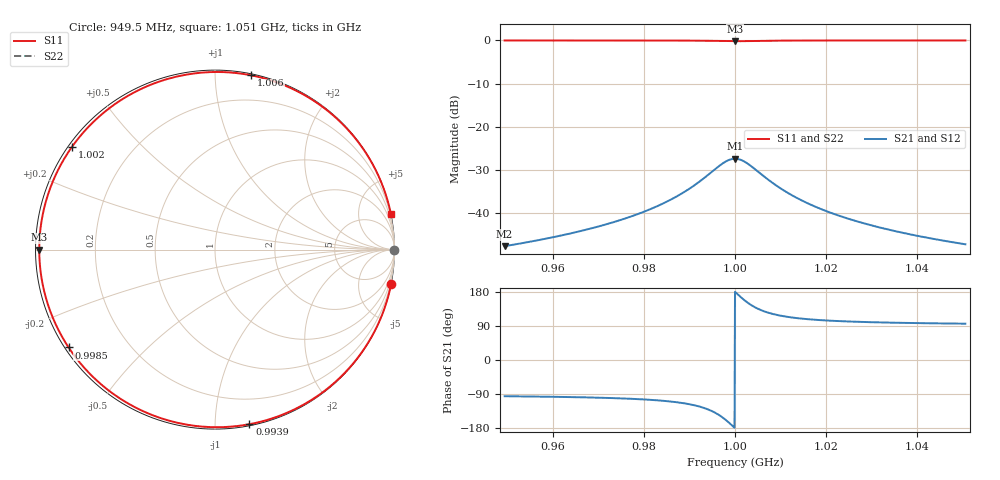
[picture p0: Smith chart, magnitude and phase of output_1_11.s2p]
! File generated for n1 = 1, n2 = 11
! b1 = 100.000000
! b2 = 0.046416
! Q0 = 10000.000000
! f0 = 1000000000.000000
! n = 1001
! rel_span = 10.000000
# Hz S RI R 50
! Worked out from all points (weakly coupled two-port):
!   1001 points, 949.5 MHz to 1.051 GHz, reference 50 ohm
!   highest |S21| = -27.40 dB at 1 GHz (marker M1); lowest = -47.7 dB at 949.5 MHz (marker M2)
!   lowest |S11| = -0.2 dB at 1 GHz (marker M3), VSWR 95.56, Z = 0.523 + j0 ohm
!   |S11| at or under -10 dB: nowhere
!   |S22| runs from 0.0 to 0.0 dB; largest |S21 - S12| = 0
!   S11 on the Smith chart (normalised r, x): 949.5 MHz: 0, -10; 993.9 MHz: 0.01, -1.22; 998.5 MHz: 0.01, -0.30; 1.002 GHz: 0.01, +0.32; 1.006 GHz: 0.01, +1.23; 1.051 GHz: 0.01, +9.86
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9.494768e8  0.9814 -0.191  -0.000401 -0.00411  -0.000401 -0.00411  1 -8.86e-05
9.663515e8  0.9578 -0.2859  -0.000909 -0.00616  -0.000909 -0.00616  1 -0.000133
9.75951e8  0.9183 -0.3938  -0.00176 -0.00848  -0.00176 -0.00848  1 -0.000183
9.832263e8  0.8379 -0.5427  -0.00349 -0.0117  -0.00349 -0.0117  0.9999 -0.000252
9.896933e8  0.6197 -0.7798  -0.00819 -0.0168  -0.00819 -0.0168  0.9998 -0.000362
9.920173e8  0.4371 -0.8929  -0.0121 -0.0192  -0.0121 -0.0192  0.9997 -0.000414
9.939372e8  0.1917 -0.9729  -0.0174 -0.021  -0.0174 -0.021  0.9996 -0.000452
9.964634e8  -0.3268 -0.9304  -0.0286 -0.02  -0.0286 -0.02  0.9994 -0.000432
9.974738e8  -0.5826 -0.7923  -0.0341 -0.0171  -0.0341 -0.0171  0.9993 -0.000368
9.984843e8  -0.8156 -0.5451  -0.0391 -0.0117  -0.0391 -0.0117  0.9992 -0.000253
1e9  -0.9793 0  -0.0426 0  -0.0426 0  0.9991 0
1.000808e9  -0.9299 0.3087  -0.0416 0.00665  -0.0416 0.00665  0.9991 0.000143
1.001617e9  -0.7957 0.5742  -0.0387 0.0124  -0.0387 0.0124  0.9992 0.000267
1.002526e9  -0.5842 0.7911  -0.0341 0.017  -0.0341 0.017  0.9993 0.000367
1.003537e9  -0.3299 0.9293  -0.0287 0.02  -0.0287 0.02  0.9994 0.000431
1.004648e9  -0.0742 0.986  -0.0231 0.0212  -0.0231 0.0212  0.9995 0.000458
1.006164e9  0.2017 0.971  -0.0172 0.0209  -0.0172 0.0209  0.9996 0.000451
1.008084e9  0.4408 0.8911  -0.012 0.0192  -0.012 0.0192  0.9997 0.000414
1.010408e9  0.6194 0.7801  -0.0082 0.0168  -0.0082 0.0168  0.9998 0.000362
1.016875e9  0.8347 0.5476  -0.00356 0.0118  -0.00356 0.0118  0.9999 0.000254
1.03375e9  0.9552 0.2944  -0.000965 0.00634  -0.000965 0.00634  1 0.000137
1.050523e9  0.9794 0.2007  -0.000443 0.00432  -0.000443 0.00432  1 9.32e-05
